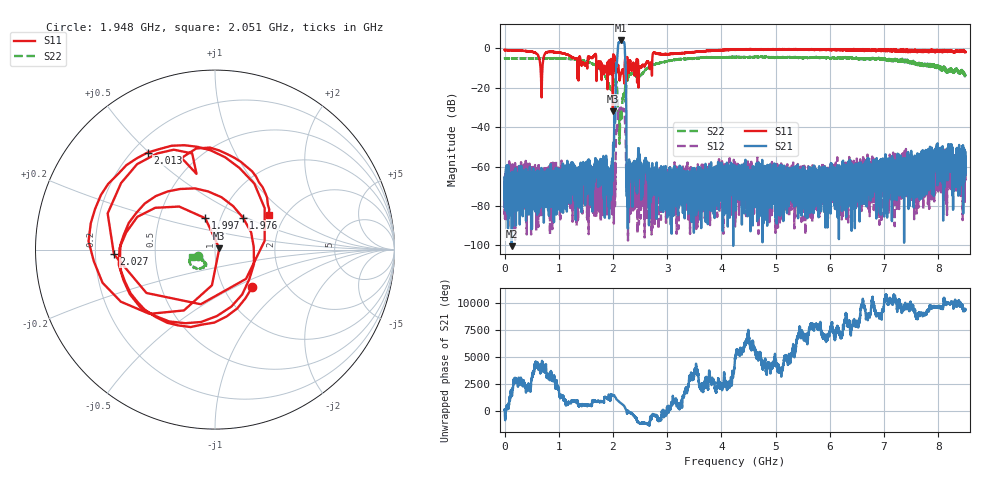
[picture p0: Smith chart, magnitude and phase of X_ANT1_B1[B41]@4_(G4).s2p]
#  HZ  S  RI  R  50.00
! Rohde & Schwarz Vector Network Analyzer
! Rohde-Schwarz,ZNBT8-20Port,1318700624101681,3.50
! Created: UTC 7/15/2025, 2:11:42 PM
! freq[Hz]  re:S1010  im:S1010  re:S0410  im:S0410  re:S1004  im:S1004  re:S44  im:S44
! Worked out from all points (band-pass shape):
!   8500 points, 1 MHz to 8.5 GHz, reference 50 ohm
!   highest |S21| = 3.99 dB at 2.148 GHz (marker M1); lowest = -100.4 dB at 133 MHz (marker M2)
!   |S21| within 3 dB of the highest: 2.093 GHz to 2.216 GHz (122.6 MHz wide, 5.69 % of centre)
!   lowest |S11| = -32.0 dB at 1.998 GHz (marker M3), VSWR 1.05, Z = 52.5 + j0.769 ohm
!   |S11| at or under -10 dB: 664 MHz to 698.6 MHz (34.62 MHz wide, 5.08 % of centre); 2.053 GHz to 2.086 GHz (32.77 MHz wide, 1.58 % of centre); 2.105 GHz to 2.214 GHz (109.2 MHz wide, 5.06 % of centre)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
!   |S22| runs from -48.5 to -4.0 dB; largest |S21 - S12| = 1.6
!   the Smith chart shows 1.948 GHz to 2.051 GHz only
!   S11 on the Smith chart (normalised r, x): 1.948 GHz: 1.36, -0.62; 1.976 GHz: 1.27, +0.48; 1.997 GHz: 0.85, +0.31; 2.013 GHz: 0.26, +0.49; 2.027 GHz: 0.28, -0.02; 2.051 GHz: 1.66, +0.73
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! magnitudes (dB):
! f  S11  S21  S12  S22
! 1 MHz  -0.9  -80.5  -71.3  -5.1
! 133 MHz  -1.0  -100.4  -66.0  -5.1
! 676 MHz  -18.0  -66.1  -76.1  -5.1
! 805 MHz  -1.8  -68.4  -81.8  -5.1
! 1.418 GHz  -8.5  -65.9  -69.1  -6.2
! 1.948 GHz  -10.6  -61.3  -73.7  -19.9
! 1.976 GHz  -12.5  -60.8  -66.2  -21.3
! 1.997 GHz  -14.7  -60.1  -72.7  -19.9
! 1.998 GHz  -32.0  -57.4  -64.6  -19.9
! 2.013 GHz  -3.6  -51.2  -69.9  -18.6
! 2.027 GHz  -5.0  -33.6  -63.8  -16.7
! 2.051 GHz  -9.0  -17.2  -52.1  -17.4
! 2.093 GHz  -8.6  0.8  -33.2  -30.6
! 2.148 GHz  -12.9  4.0  -30.3  -31.7
! 2.205 GHz  -16.4  2.9  -31.3  -22.9
! 2.293 GHz  -10.3  -58.3  -74.7  -14.0
! 2.458 GHz  -5.8  -63.0  -69.6  -14.9
! 2.834 GHz  -2.8  -69.3  -74.6  -7.6
! 4.251 GHz  -0.6  -75.4  -64.5  -4.5
! 5.667 GHz  -0.4  -69.6  -62.4  -4.6
! 7.084 GHz  -0.9  -63.0  -62.1  -5.5
! 8.5 GHz  -1.9  -55.5  -59.6  -13.7
